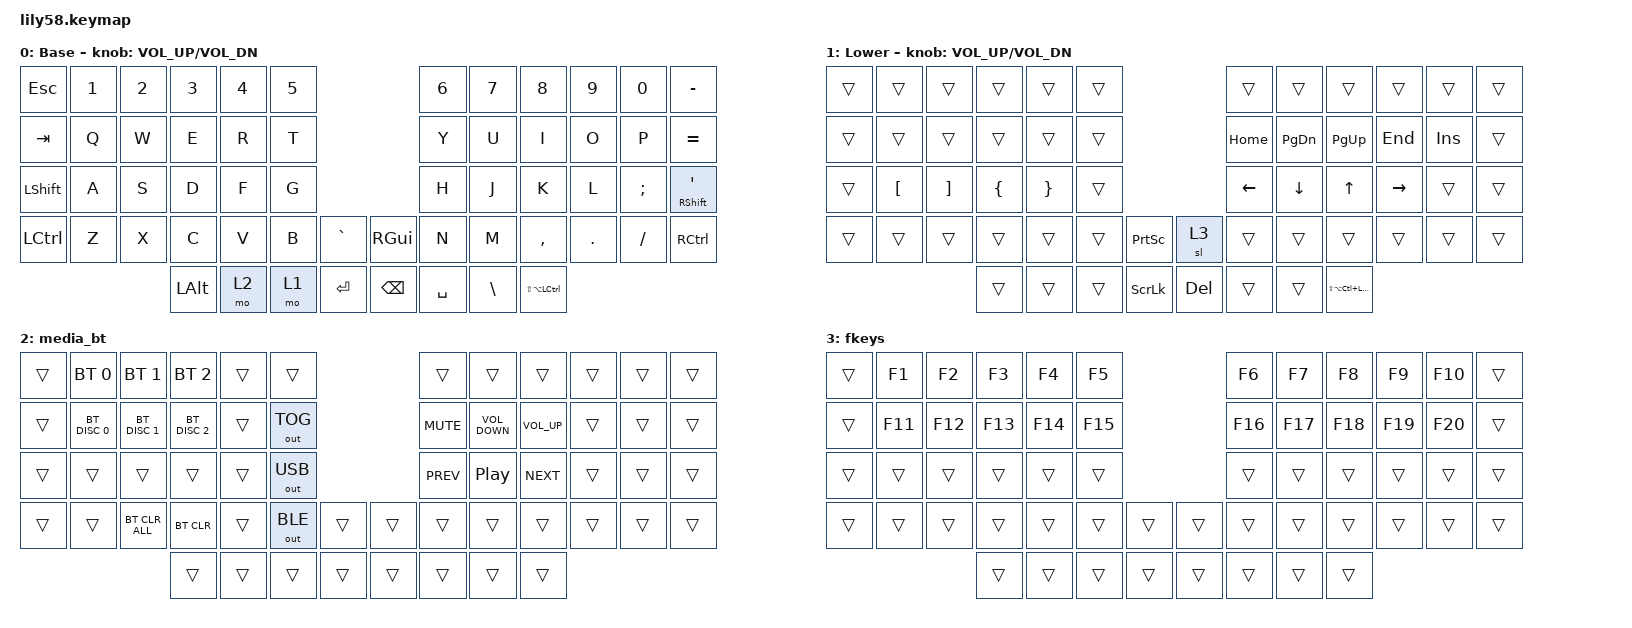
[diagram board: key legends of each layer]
/*
 * Copyright (c) 2020 The ZMK Contributors
 *
 * SPDX-License-Identifier: MIT
 */

#include <behaviors.dtsi>
#include <dt-bindings/zmk/bt.h>
#include <dt-bindings/zmk/keys.h>
#include <dt-bindings/zmk/outputs.h>

/ {
    behaviors {
        hrm_lh: hrm_lh {
            compatible = "zmk,behavior-hold-tap";
            label = "HRM_LH";
            bindings = <&kp>, <&kp>;

            #binding-cells = <2>;
            tapping-term-ms = <280>;
            flavor = "balanced";
            hold-trigger-on-release;
            quick-tap-ms = <175>;
            require-prior-idle-ms = <150>;
            hold-trigger-key-positions = <6 7 8 9 10 11 18 19 20 21 22 23 30 31 32 33 35 34 48 47 44 45 46 56 54 57>;
        };

        hmr_rh: hmr_rh {
            compatible = "zmk,behavior-hold-tap";
            label = "HMR_RH";
            bindings = <&kp>, <&kp>;

            #binding-cells = <2>;
            tapping-term-ms = <280>;
            flavor = "balanced";
            hold-trigger-on-release;
            quick-tap-ms = <175>;
            require-prior-idle-ms = <150>;
            hold-trigger-key-positions = <1 1 2 3 4 5 12 13 17 25 26 27 28 29 36 37 38 39 40 41 14 15 16 42 52>;
        };

        kp_sl: kp_sl {
            compatible = "zmk,behavior-hold-tap";
            label = "KP_SL";
            bindings = <&kp>, <&sl>;

            #binding-cells = <2>;
            tapping-term-ms = <150>;
        };

        dbltap_sl_fkeys: dbltap_sl_fkeys {
            compatible = "zmk,behavior-tap-dance";
            label = "DBLTAP_SL_FKEYS";
            #binding-cells = <0>;
            bindings = <&none>, <&sl 3>;
        };
    };

    combos {
        compatible = "zmk,combos";

        dbl_ctrl_capslock {
            bindings = <&kp CAPSLOCK>;
            key-positions = <36 49>;
        };
    };

    keymap {
        compatible = "zmk,keymap";

        default_layer {
            // ------------------------------------------------------------------------------------------------------------
            // |  ESC  |  1  |  2  |  3   |  4   |  5   |                   |  6   |  7    |  8    |  9   |   0   |   `   |
            // |  TAB  |  Q  |  W  |  E   |  R   |  T   |                   |  Y   |  U    |  I    |  O   |   P   |   -   |
            // |  CTRL |  A  |  S  |  D   |  F   |  G   |                   |  H   |  J    |  K    |  L   |   ;   |   '   |
            // | SHIFT |  Z  |  X  |  C   |  V   |  B   |   "["  |  |  "]"  |  N   |  M    |  ,    |  .   |   /   | SHIFT |
            //                     | ALT  | GUI  | LOWER|  SPACE |  | ENTER | RAISE| BSPC  | GUI   |

            display-name = "Base";
            bindings = <
&kp ESCAPE  &kp N1  &kp N2  &kp N3    &kp N4  &kp N5                              &kp N6     &kp N7         &kp N8             &kp N9      &kp N0     &kp MINUS
&kp TAB     &kp Q   &kp W   &kp E     &kp R   &kp T                               &kp Y      &kp U          &kp I              &kp O       &kp P      &kp EQUAL
&kp LSHIFT  &kp A   &kp S   &kp D     &kp F   &kp G                               &kp H      &kp J          &kp K              &kp L       &kp SEMI   &mt RSHIFT SQT
&kp LCTRL   &kp Z   &kp X   &kp C     &kp V   &kp B   &kp GRAVE    &kp RGUI       &kp N      &kp M          &kp COMMA          &kp PERIOD  &kp SLASH  &kp RCTRL
                            &kp LALT  &mo 2   &mo 1   &kp ENTER    &kp BACKSPACE  &kp SPACE  &kp BACKSLASH  &kp LS(LA(LCTRL))
            >;

            sensor-bindings = <&inc_dec_kp C_VOL_UP C_VOL_DN>;
        };

        lower_layer {
            // ------------------------------------------------------------------------------------------------------------
            // | BTCLR | BT1 | BT2 |  BT3 |  BT4 |  BT5 |                   |      |       |       |      |       |       |
            // |  F1   |  F2 |  F3 |  F4  |  F5  |  F6  |                   |  F7  |  F8   |  F9   |  F10 |  F11  |  F12  |
            // |   `   |  !  |  @  |  #   |  $   |  %   |                   |  ^   |  &    |  *    |  (   |   )   |   ~   |
            // |       |     |     |      |      |      |        |  |       |      |  _    |  +    |  {   |   }   |  "|"  |
            //                     |      |      |      |        |  |       |      |       |       |

            display-name = "Lower";
            bindings = <
&trans  &trans            &trans             &trans          &trans           &trans                                 &trans          &trans          &trans                &trans           &trans      &trans
&trans  &trans            &trans             &trans          &trans           &trans                                 &kp HOME        &kp PAGE_DOWN   &kp PAGE_UP           &kp END          &kp INSERT  &trans
&trans  &kp LEFT_BRACKET  &kp RIGHT_BRACKET  &kp LEFT_BRACE  &kp RIGHT_BRACE  &trans                                 &kp LEFT_ARROW  &kp DOWN_ARROW  &kp UP_ARROW          &kp RIGHT_ARROW  &trans      &trans
&trans  &trans            &trans             &trans          &trans           &trans  &kp PRINTSCREEN    &sl 3       &trans          &trans          &trans                &trans           &trans      &trans
                                             &trans          &trans           &trans  &kp SCROLLLOCK     &kp DELETE  &trans          &trans          &kp LS(LA(LC(LGUI)))
            >;

            sensor-bindings = <&inc_dec_kp C_VOL_UP C_VOL_DN>;
        };

        media_bt {
            bindings = <
&trans  &bt BT_SEL 0   &bt BT_SEL 1    &bt BT_SEL 2   &trans  &trans                          &trans      &trans             &trans           &trans  &trans  &trans
&trans  &bt BT_DISC 0  &bt BT_DISC 1   &bt BT_DISC 2  &trans  &out OUT_TOG                    &kp C_MUTE  &kp C_VOLUME_DOWN  &kp C_VOLUME_UP  &trans  &trans  &trans
&trans  &trans         &trans          &trans         &trans  &out OUT_USB                    &kp C_PREV  &kp C_PP           &kp C_NEXT       &trans  &trans  &trans
&trans  &trans         &bt BT_CLR_ALL  &bt BT_CLR     &trans  &out OUT_BLE  &trans    &trans  &trans      &trans             &trans           &trans  &trans  &trans
                                       &trans         &trans  &trans        &trans    &trans  &trans      &trans             &trans
            >;
        };

        fkeys {
            bindings = <
&trans  &kp F1   &kp F2   &kp F3   &kp F4   &kp F5                     &kp F6   &kp F7   &kp F8   &kp F9   &kp F10  &trans
&trans  &kp F11  &kp F12  &kp F13  &kp F14  &kp F15                    &kp F16  &kp F17  &kp F18  &kp F19  &kp F20  &trans
&trans  &trans   &trans   &trans   &trans   &trans                     &trans   &trans   &trans   &trans   &trans   &trans
&trans  &trans   &trans   &trans   &trans   &trans   &trans    &trans  &trans   &trans   &trans   &trans   &trans   &trans
                          &trans   &trans   &trans   &trans    &trans  &trans   &trans   &trans
            >;
        };
    };
};
